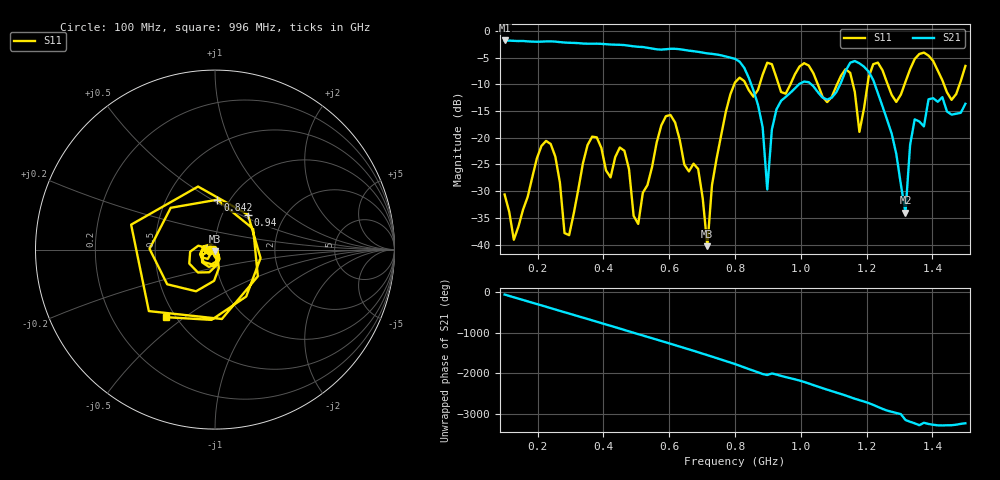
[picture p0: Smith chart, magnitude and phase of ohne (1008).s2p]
! NanoVNA-App
! Date: 2025-09-25 14:28:39
! Start: 100MHz Stop: 1,5GHz Points: 101
! S-Parameter data: F S11 S21 S12 S22
# Hz S RI R 50
!  Frequency  S11_Real  S11_Imag  S21_Real  S21_Imag  S12_Real  S12_Imag  S22_Real  S22_Imag
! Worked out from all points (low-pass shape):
!   101 points, 100 MHz to 1.5 GHz, reference 50 ohm
!   highest |S21| = -1.79 dB at 100 MHz (marker M1); lowest = -34.0 dB at 1.318 GHz (marker M2)
!   |S21| within 3 dB of the highest: start of sweep to 772 MHz
!   lowest |S11| = -40.3 dB at 716 MHz (marker M3), VSWR 1.02, Z = 49.8 - j0.945 ohm
!   |S11| at or under -10 dB: start of sweep to 797.8 MHz; 833 MHz to 875.1 MHz (42.08 MHz wide, 4.93 % of centre); 1.052 GHz to 1.11 GHz (58.68 MHz wide, 5.43 % of centre) (the widest 3 of 7)
!   S12 and S22 are empty: the file has one direction only
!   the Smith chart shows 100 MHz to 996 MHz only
!   S11 on the Smith chart (normalised r, x): 100 MHz: 0.94, -0.01; 842 MHz: 0.88, +0.53; 940 MHz: 1.32, +0.55; 996 MHz: 0.45, -0.43
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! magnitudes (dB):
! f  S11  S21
! 100 MHz  -30.6  -1.8
! 128 MHz  -39.1  -1.9
! 226 MHz  -20.6  -2.0
! 296 MHz  -38.2  -2.2
! 338 MHz  -24.8  -2.4
! 464 MHz  -22.4  -2.7
! 506 MHz  -36.1  -3.0
! 576 MHz  -17.7  -3.5
! 688 MHz  -25.8  -3.9
! 716 MHz  -40.3  -4.2
! 800 MHz  -9.7  -5.2
! 842 MHz  -11.1  -8.8
! 898 MHz  -6.0  -29.7
! 940 MHz  -11.4  -13.1
! 996 MHz  -6.7  -9.9
! 1.038 GHz  -7.9  -10.4
! 1.178 GHz  -18.9  -6.1
! 1.22 GHz  -6.2  -9.2
! 1.276 GHz  -12.0  -19.2
! 1.318 GHz  -9.5  -34.0
! 1.346 GHz  -5.3  -16.6
! 1.5 GHz  -6.6  -13.6
